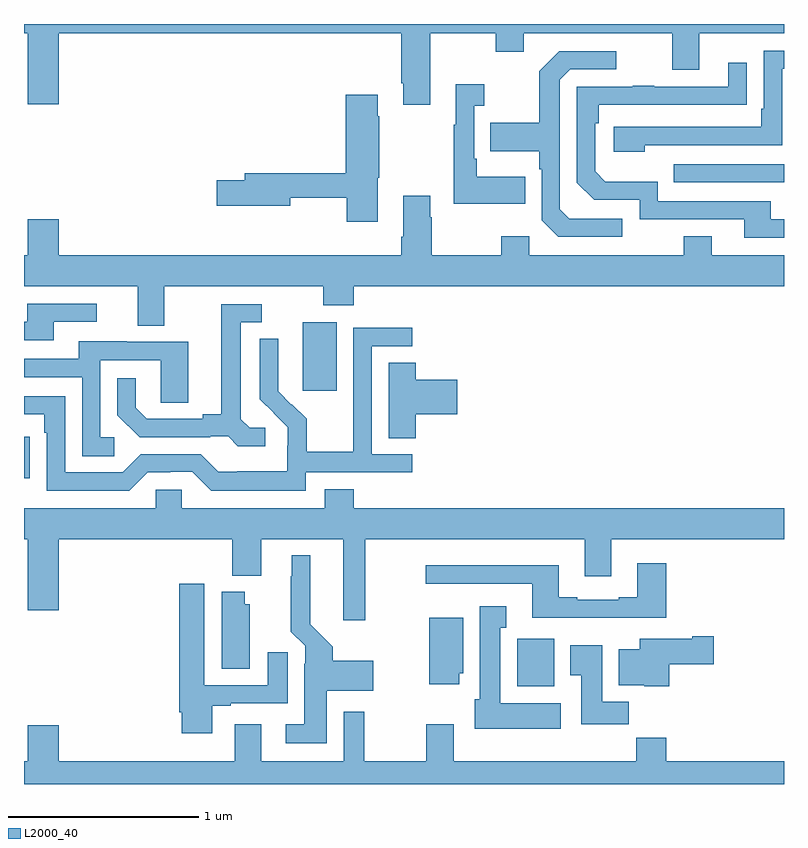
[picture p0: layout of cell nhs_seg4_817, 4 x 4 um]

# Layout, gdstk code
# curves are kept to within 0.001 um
import gdstk
lib = gdstk.Library(unit=1e-6, precision=1e-09)
def R(c, l, rs):  # rectangles x0, y0, x1, y1
    for r in rs: c.add(gdstk.rectangle(r[:2], r[2:], *l))
def P(c, l, *ps):  # polygons
    for p in ps: c.add(gdstk.Polygon(p, *l))
L2000_40 = (2000, 40)

nhs_seg4_817 = lib.new_cell('nhs_seg4_817')
R(nhs_seg4_817, L2000_40, [(155.595,761.414,155.791,761.664), (153,762.51,153.029,762.728), (154.466,762.969,154.645,763.33), (156.421,764.067,157,764.163)])
P(nhs_seg4_817, L2000_40, [(155.137,764.852),(155.482,764.852),(155.482,764.753),(155.629,764.753),(155.629,764.852),(156.413,764.852),(156.413,764.658),(156.553,764.658),(156.553,764.852),(157,764.852),(157,764.9),(153,764.9),(153,764.852),(153.02,764.852),(153.02,764.478),(153.184,764.478),(153.184,764.852),(154.985,764.852),(154.985,764.587),(154.997,764.587),(154.997,764.475),(155.137,764.475)],
  [(156.266,764.262),(156.99,764.262),(156.99,764.664),(157,764.664),(157,764.76),(156.894,764.76),(156.894,764.455),(156.881,764.455),(156.881,764.358),(156.105,764.358),(156.105,764.228),(156.266,764.228)],
  [(156.148,763.875),(155.871,763.875),(155.82,763.926),(155.82,764.607),(155.874,764.661),(156.118,764.661),(156.118,764.757),(155.817,764.757),(155.712,764.651),(155.712,764.379),(155.455,764.379),(155.455,764.231),(155.712,764.231),(155.712,764.135),(155.724,764.135),(155.724,763.866),(155.811,763.779),(156.148,763.779)],
  [(157,763.872),(156.931,763.872),(156.931,763.968),(156.336,763.968),(156.336,764.071),(156.059,764.071),(156.006,764.124),(156.006,764.378),(156.026,764.378),(156.026,764.475),(156.803,764.476),(156.803,764.695),(156.707,764.695),(156.707,764.571),(156.317,764.571),(156.317,764.576),(156.205,764.576),(156.205,764.571),(155.91,764.571),(155.91,764.064),(156,763.974),(156.24,763.974),(156.24,763.872),(156.791,763.872),(156.791,763.776),(157,763.776)],
  [(155.639,764.095),(155.383,764.095),(155.383,764.191),(155.37,764.191),(155.37,764.471),(155.422,764.471),(155.422,764.584),(155.273,764.584),(155.273,764.371),(155.262,764.371),(155.262,763.955),(155.639,763.955)],
  [(154.861,764.091),(154.869,764.091),(154.869,764.414),(154.861,764.414),(154.861,764.527),(154.694,764.527),(154.694,764.114),(154.163,764.114),(154.163,764.078),(154.014,764.078),(154.014,763.943),(154.402,763.943),(154.402,763.986),(154.699,763.986),(154.699,763.86),(154.861,763.86)],
  [(157,763.684),(156.619,763.684),(156.619,763.783),(156.472,763.783),(156.472,763.684),(155.658,763.684),(155.658,763.783),(155.512,763.783),(155.512,763.684),(155.145,763.684),(155.145,763.883),(155.137,763.883),(155.137,763.996),(154.997,763.996),(154.997,763.78),(154.985,763.78),(154.985,763.684),(153.184,763.684),(153.184,763.873),(153.02,763.873),(153.02,763.684),(153,763.684),(153,763.52),(153.599,763.52),(153.599,763.312),(153.739,763.312),(153.739,763.52),(154.576,763.52),(154.576,763.421),(154.736,763.421),(154.736,763.52),(157,763.52)],
  [(153.157,763.332),(153.382,763.332),(153.382,763.428),(153.017,763.428),(153.017,763.332),(153,763.332),(153,763.236),(153.157,763.236)],
  [(154.27,762.774),(154.188,762.774),(154.141,762.821),(154.141,763.329),(154.252,763.329),(154.252,763.425),(154.037,763.425),(154.037,762.845),(153.941,762.845),(153.941,762.822),(153.646,762.822),(153.589,762.879),(153.589,763.036),(153.492,763.036),(153.492,762.842),(153.608,762.726),(153.98,762.726),(153.98,762.729),(154.074,762.729),(154.126,762.677),(154.27,762.677)],
  [(154.482,762.54),(155.044,762.54),(155.044,762.636),(154.83,762.636),(154.83,763.203),(155.044,763.203),(155.044,763.302),(154.734,763.302),(154.734,762.872),(154.732,762.872),(154.732,762.649),(154.487,762.649),(154.487,762.823),(154.41,762.9),(154.407,762.897),(154.337,762.968),(154.338,763.244),(154.242,763.244),(154.242,762.926),(154.388,762.778),(154.388,762.681),(154.386,762.681),(154.386,762.547),(154.123,762.547),(154.123,762.543),(154.023,762.543),(153.93,762.636),(153.615,762.636),(153.519,762.54),(153.216,762.54),(153.216,762.942),(153,762.942),(153,762.846),(153.107,762.846),(153.107,762.749),(153.12,762.749),(153.12,762.444),(153.555,762.444),(153.651,762.54),(153.77,762.54),(153.77,762.543),(153.885,762.543),(153.985,762.443),(154.482,762.443)],
  [(153.475,762.726),(153.402,762.726),(153.402,763.131),(153.72,763.131),(153.72,762.907),(153.865,762.907),(153.865,763.227),(153.541,763.227),(153.541,763.231),(153.287,763.231),(153.287,763.137),(153,763.137),(153,763.041),(153.306,763.041),(153.306,762.625),(153.475,762.625)],
  [(155.063,762.845),(155.281,762.845),(155.281,763.028),(155.063,763.028),(155.063,763.118),(154.919,763.118),(154.919,762.721),(155.063,762.721)],
  [(153.831,762.45),(153.693,762.45),(153.693,762.352),(153,762.352),(153,762.188),(153.02,762.188),(153.02,761.814),(153.184,761.814),(153.184,762.188),(154.097,762.188),(154.097,761.996),(154.249,761.996),(154.249,762.188),(154.679,762.188),(154.679,761.763),(154.797,761.763),(154.797,762.188),(155.951,762.188),(155.951,761.994),(156.091,761.994),(156.091,762.188),(157,762.188),(157,762.352),(154.736,762.352),(154.736,762.451),(154.583,762.451),(154.583,762.352),(153.831,762.352)],
  [(154.594,761.39),(154.837,761.39),(154.837,761.548),(154.625,761.548),(154.625,761.622),(154.507,761.74),(154.507,762.103),(154.409,762.103),(154.409,761.993),(154.405,761.993),(154.405,761.702),(154.479,761.628),(154.479,761.534),(154.475,761.534),(154.475,761.215),(154.377,761.215),(154.377,761.114),(154.594,761.114)],
  [(156.38,762.061),(156.227,762.061),(156.227,761.884),(156.131,761.884),(156.131,761.871),(155.911,761.871),(155.911,761.884),(155.815,761.884),(155.815,762.052),(155.115,762.052),(155.115,761.955),(155.675,761.955),(155.675,761.774),(156.38,761.774)],
  [(153.991,761.313),(154.087,761.313),(154.087,761.325),(154.387,761.325),(154.387,761.593),(154.283,761.593),(154.283,761.421),(153.949,761.421),(153.949,761.953),(153.818,761.953),(153.818,761.278),(153.83,761.278),(153.83,761.166),(153.991,761.166)],
  [(154.189,761.847),(154.162,761.847),(154.162,761.911),(154.04,761.911),(154.04,761.506),(154.189,761.506)],
  [(155.824,761.326),(155.506,761.326),(155.506,761.723),(155.539,761.723),(155.539,761.836),(155.399,761.836),(155.399,761.346),(155.372,761.346),(155.372,761.192),(155.824,761.192)],
  [(155.29,761.484),(155.311,761.484),(155.311,761.776),(155.132,761.776),(155.132,761.424),(155.29,761.424)],
  [(156.395,761.531),(156.631,761.531),(156.631,761.678),(156.518,761.678),(156.518,761.665),(156.242,761.665),(156.242,761.608),(156.131,761.608),(156.131,761.42),(156.264,761.42),(156.264,761.414),(156.395,761.414)],
  [(156.182,761.332),(156.043,761.332),(156.043,761.629),(155.876,761.629),(155.876,761.473),(155.933,761.473),(155.933,761.214),(156.182,761.214)],
  [(157,761.02),(156.38,761.02),(156.38,761.144),(156.223,761.144),(156.223,761.02),(155.263,761.02),(155.263,761.215),(155.116,761.215),(155.116,761.02),(154.792,761.02),(154.792,761.281),(154.683,761.281),(154.683,761.02),(154.249,761.02),(154.249,761.215),(154.109,761.215),(154.109,761.02),(153.184,761.02),(153.184,761.209),(153.02,761.209),(153.02,761.02),(153,761.02),(153,760.9),(157,760.9)])

lib.write_gds('nhs_seg4_817.gds')
